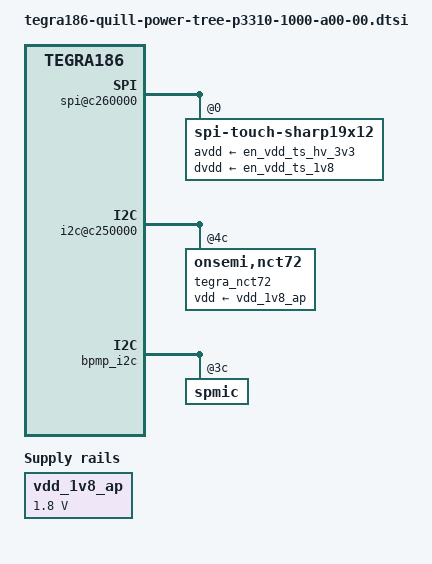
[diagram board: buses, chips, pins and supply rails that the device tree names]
/*
 * Copyright (c) 2015-2016, NVIDIA CORPORATION.  All rights reserved.
 *
 * This program is free software; you can redistribute it and/or modify
 * it under the terms of the GNU General Public License as published by
 * the Free Software Foundation; either version 2 of the License, or
 * (at your option) any later version.
 *
 * This program is distributed in the hope that it will be useful, but WITHOUT
 * ANY WARRANTY; without even the implied warranty of MERCHANTABILITY or
 * FITNESS FOR A PARTICULAR PURPOSE.  See the GNU General Public License for
 * more details.
 *
 */

#include "tegra186-quill-spmic-p3310-1000-a00-00.dtsi"
#include "tegra186-cvb-prod-p2597-b00-p3310-1000-a00-00.dtsi"

/ {

	fixed-regulators {
		vdd_1v8_ap: regulator@101 {
			compatible = "regulator-fixed";
			reg = <101>;
			regulator-name = "vdd-1v8-ap";
			regulator-min-microvolt = <1800000>;
			regulator-max-microvolt = <1800000>;
			regulator-always-on;
			regulator-boot-on;
		};
	};


	ether_qos@2490000 {
		vddio_sys_enet_bias-supply = <&spmic_sd2>;
		vddio_enet-supply = <&spmic_sd3>;
		phy_vdd_1v8-supply = <&spmic_sd2>;
		phy_ovdd_rgmii-supply = <&spmic_sd3>;
		phy_pllvdd-supply = <&spmic_sd1>;
	};

	host1x {
		nvdisplay@15200000 {
			avdd_lcd-supply = <&en_avdd_disp_3v3>;
			dvdd_lcd-supply = <&en_vdd_disp_1v8>;
			avdd_dsi_csi-supply = <&spmic_sd1>;
			outp-supply = <&vpp_lcd>;
			outn-supply = <&vmm_lcd>;
			vdd_lcd_bl-supply = <&battery_reg>;
			vdd_lcd_bl_en-supply = <&vdd_bl_en>;
			/* added hdmi for testing in head 0 */
			avdd_hdmi-supply = <&spmic_ldo7>;
			avdd_hdmi_pll-supply = <&spmic_sd2>;
			vdd_hdmi_5v0-supply = <&vdd_hdmi>;
		};
		nvdisplay@15210000 {
			avdd_hdmi-supply = <&spmic_ldo7>;
			avdd_hdmi_pll-supply = <&spmic_sd2>;
			vdd_hdmi_5v0-supply = <&vdd_hdmi>;
		};
		vi@15700000 {
			avdd_dsi_csi-supply = <&spmic_sd1>;
		};
	};

	sdhci@3460000 {
		vddio_sdmmc-supply = <&spmic_sd2>;
		vddio_sd_slot-supply = <&spmic_sd3>;
	};

	sdhci@3440000 {
		vddio_sdmmc-supply = <&spmic_ldo5>;
		vddio_sd_slot-supply = <&spmic_sd2>;
	};

	sdhci@3420000 {
		vddio_sdmmc-supply = <&spmic_sd2>;
		vddio_sd_slot-supply = <&spmic_sd3>;
	};

	sdhci@3400000 {
		vddio_sdmmc-supply = <&spmic_ldo3>;
		vddio_sd_slot-supply = <&en_vdd_sdcard1>;
	};

	xhci@3530000 {
		avddio_usb-supply = <&spmic_sd3>;
		avdd_pll_utmip-supply = <&spmic_sd2>;
		hvdd_usb-supply =  <&spmic_sd2>;
	};

	xudc@3550000 {
		avdd-usb-supply = <&spmic_sd3>;
		dvdd-pex-supply = <&spmic_ldo7>;
		hvdd-pex-supply =  <&spmic_sd2>;
		dvdd-pex-pll-supply = <&spmic_ldo7>;
		hvdd-pex-pll-supply = <&spmic_sd2>;
	};

	pinctrl@3520000 {
		vbus-0-supply = <&vdd_usb0_5v>;
		vbus-1-supply = <&vdd_usb1_5v>;
		vbus-2-supply = <&vdd_usb2_5v>;
		vbus-3-supply = <&battery_reg>;
		vddio-hsic-supply = <&battery_reg>;
		hvdd_pex_pll-supply = <&spmic_sd2>;
		hvdd_pex-supply = <&spmic_sd2>;
		dvdd_pex-supply = <&spmic_ldo7>;
		avdd_usb-supply = <&spmic_sd3>;
		vclamp_usb-supply = <&spmic_sd2>;
		avdd_pll_erefeut-supply = <&spmic_sd2>;
	};

	spi@c260000 {
		spi-touch-sharp19x12@0 {
			avdd-supply = <&en_vdd_ts_hv_3v3>;
			dvdd-supply = <&en_vdd_ts_1v8>;
		};
	};

	pcie-controller@10003000 {
		dvdd-pex-supply = <&spmic_ldo7>;
		hvdd-pex-pll-supply = <&spmic_sd2>;
		hvdd-pex-supply = <&spmic_sd2>;
		vddio-pexctl-aud-supply = <&spmic_sd2>;
	};

	pmc-iopower {
		iopower-sys-supply = <&vdd_1v8_ap>;
		iopower-uart-supply = <&vdd_1v8_ap>;
		iopower-conn-supply = <&vdd_1v8_ap>;
		iopower-edp-supply = <&vdd_1v8_ap>;
		iopower-pex-ctrl-audio-supply = <&vdd_1v8_ap>;
		iopower-ufs-supply = <&vdd_1v8_ap>;
		iopower-ddr0-supply = <&spmic_sd0>;
		iopower-ddr1-supply = <&spmic_sd0>;
		iopower-csi-dsi-supply = <&spmic_sd1>;
		iopower-cam-supply = <&vdd_1v8_ap>;
		iopower-sdmmc4-supply = <&vdd_1v8_ap>;
		iopower-sdmmc1-hv-supply = <&spmic_ldo3>;
		iopower-audio-hv-supply = <&vdd_1v8_ap>;
		iopower-dbg-supply = <&vdd_1v8_ap>;
		iopower-spi-supply = <&vdd_1v8_ap>;
		iopower-ao-supply = <&vdd_1v8_ap>;
		iopower-ao-hv-supply = <&spmic_ldo2>;
		iopower-dmic-hv-supply =  <&vdd_1v8_ap>;
		iopower-sdmmc2-hv-supply = <&spmic_sd3>;
		iopower-sdmmc3-hv-supply =  <&spmic_ldo5>;
	};

	i2c@c250000 {
		tegra_nct72: onsemi,nct72@4c {
			vdd-supply = <&vdd_1v8_ap>;
		};
	};

	pwm-fan {
		vdd-fan-supply = <&vdd_fan>;
	};

	bluedroid_pm {
		avdd-supply = <&battery_reg>;
		dvdd-supply = <&spmic_sd2>;
	};

	bpmp_i2c {
		spmic@3c {
			pinmux@0 {

				pin_gpio1 {
					maxim,active-fps-power-up-slot = <1>;
					maxim,active-fps-power-down-slot = <3>;
				};

				pin_gpio2 {
					maxim,active-fps-power-up-slot = <7>;
					maxim,active-fps-power-down-slot = <2>;
				};

				pin_gpio3 {
					maxim,active-fps-power-up-slot = <1>;
					maxim,active-fps-power-down-slot = <7>;
				};
			};

			regulators {
				sd0 {
					maxim,active-fps-source = <MAX77620_FPS_SRC_0>;
					maxim,active-fps-power-up-slot = <5>;
					maxim,active-fps-power-down-slot = <2>;
					regulator-enable-ramp-delay = <278>;
					regulator-disable-ramp-delay = <153000>;
					regulator-ramp-delay = <27500>;
					regulator-ramp-delay-scale = <700>;
				};

				sd1 {
					maxim,active-fps-source = <MAX77620_FPS_SRC_1>;
					maxim,active-fps-power-up-slot = <3>;
					maxim,active-fps-power-down-slot = <1>;
					regulator-enable-ramp-delay = <211>;
					regulator-disable-ramp-delay = <40000>;
					regulator-ramp-delay = <27500>;
					regulator-ramp-delay-scale = <500>;
				};

				sd2 {
					maxim,active-fps-source = <MAX77620_FPS_SRC_0>;
					maxim,active-fps-power-up-slot = <0>;
					maxim,active-fps-power-down-slot = <7>;
					regulator-enable-ramp-delay = <4000>;
					regulator-disable-ramp-delay = <21000>;
					regulator-ramp-delay = <27500>;
					regulator-ramp-delay-scale = <6150>;
				};

				sd3 {
					maxim,active-fps-source = <MAX77620_FPS_SRC_0>;
					maxim,active-fps-power-up-slot = <6>;
					maxim,active-fps-power-down-slot = <1>;
					regulator-enable-ramp-delay = <574>;
					regulator-disable-ramp-delay = <40000>;
					regulator-ramp-delay = <27500>;
					regulator-ramp-delay-scale = <500>;
				};

				ldo0 {
					maxim,active-fps-source = <MAX77620_FPS_SRC_1>;
					maxim,active-fps-power-up-slot = <3>;
					maxim,active-fps-power-down-slot = <3>;
					regulator-ramp-delay = <100000>;
				};

				ldo1 {
					regulator-ramp-delay = <100000>;
				};

				ldo2 {
					maxim,active-fps-source = <MAX77620_FPS_SRC_0>;
					maxim,active-fps-power-up-slot = <6>;
					maxim,active-fps-power-down-slot = <1>;
					regulator-enable-ramp-delay = <152>;
					regulator-disable-ramp-delay = <14000>;
					regulator-ramp-delay = <100000>;
					regulator-ramp-delay-scale = <500>;
				};

				ldo3 {
					maxim,active-fps-source = <MAX77620_FPS_SRC_NONE>;
					maxim,active-fps-power-up-slot = <0>;
					maxim,active-fps-power-down-slot = <7>;
					regulator-enable-ramp-delay = <160>;
					regulator-disable-ramp-delay = <16000>;
					regulator-ramp-delay = <100000>;
					regulator-ramp-delay-scale = <500>;
				};

				ldo4 {
					maxim,active-fps-source = <MAX77620_FPS_SRC_0>;
					maxim,active-fps-power-up-slot = <1>;
					maxim,active-fps-power-down-slot = <7>;
					regulator-enable-ramp-delay = <26>;
					regulator-disable-ramp-delay = <1650>;
					regulator-ramp-delay = <100000>;
					regulator-ramp-delay-scale = <300>;
				};

				ldo5 {
					maxim,active-fps-power-up-slot = <0>;
					maxim,active-fps-power-down-slot = <7>;
					regulator-enable-ramp-delay = <309>;
					regulator-disable-ramp-delay = <16000>;
					regulator-ramp-delay = <100000>;
					regulator-ramp-delay-scale = <950>;
				};

				ldo6 {
					regulator-ramp-delay = <100000>;
				};

				ldo7 {
					maxim,active-fps-source = <MAX77620_FPS_SRC_1>;
					maxim,active-fps-power-up-slot = <4>;
					maxim,active-fps-power-down-slot = <1>;
					regulator-enable-ramp-delay = <95>;
					regulator-disable-ramp-delay = <15000>;
					regulator-ramp-delay = <100000>;
					regulator-ramp-delay-scale = <950>;
				};

			};
		};
	};

	fixed-regulators {
		regulator@1 {
			regulator-enable-ramp-delay = <1120>;
			regulator-disable-ramp-delay = <16500>;
		};

		regulator@2 {
			regulator-enable-ramp-delay = <108>;
			regulator-disable-ramp-delay = <1200>;
		};

		regulator@3 {
			regulator-enable-ramp-delay = <745>;
			regulator-disable-ramp-delay = <74000>;
		};

		regulator@4 {
			regulator-enable-ramp-delay = <945>;
			regulator-disable-ramp-delay = <2650>;
		};

		regulator@5 {
			regulator-enable-ramp-delay = <800>;
			regulator-disable-ramp-delay = <13000>;
		};

		regulator@6 {
			regulator-enable-ramp-delay = <173>;
			regulator-disable-ramp-delay = <13000>;
		};

		regulator@7 {
			regulator-enable-ramp-delay = <245>;
			regulator-disable-ramp-delay = <43000>;
		};

		regulator@8 {
			regulator-enable-ramp-delay = <216>;
			regulator-disable-ramp-delay = <43000>;
		};

		regulator@10 {
			regulator-enable-ramp-delay = <178>;
			regulator-disable-ramp-delay = <10000>;
		};

		regulator@11 {
			regulator-enable-ramp-delay = <5000>;
			regulator-disable-ramp-delay = <87000>;
		};
	};
};
